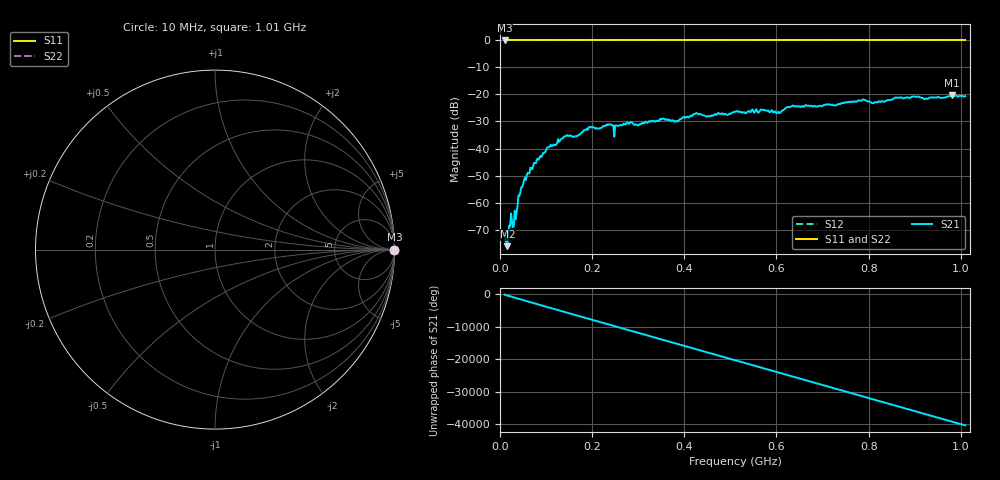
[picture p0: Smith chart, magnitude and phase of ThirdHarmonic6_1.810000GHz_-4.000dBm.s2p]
! 8/16/2025 9:55:12 PM
! C:\ANRITSUVNA\TEMP\TEMP.S2P
! CHANNEL.1
! TR.MEASUREMENT
! RAW.DATA
! RF.CORRECTION.OFF
! AVERAGING.OFF
! IF.BANDWIDTH: 5KHZ
! SWEEPTYPE:  FREQ.SWEEP(Linear)
! Reference Plane Port Info
! PORT:  PORT1  PORT2
! DISTANCE:  0  m  0  m
! TIME:  0  s  0  s
! PHASE.OFFSET:  0  deg.  0  deg.
! LOSS:  0  dB  0  dB
! REF.LOSS:  0  dB  0  dB
! REF.FREQ:  0  Hz  0  Hz
! Power Info
! POWER:  -20  dBm  -20  dBm
! EFF.POWER:  -20  dBm  -20  dBm
! SOURCE.ATTEN:  0  dB  0  dB
! TEST.ATTEN:  0  dB  0  dB
# GHZ S RI R 50.0
! FREQ.GHZ  S11RE  S11IM  S21RE  S21IM  S12RE  S12IM  S22RE  S22IM
!; PortSelection: Port_12
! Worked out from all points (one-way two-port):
!   501 points, 10 MHz to 1.01 GHz, reference 50 ohm
!   highest |S21| = -20.32 dB at 980 MHz (marker M1); lowest = -76.2 dB at 16 MHz (marker M2)
!   lowest |S11| = 0.0 dB at 10 MHz (marker M3)
!   |S11| at or under -10 dB: nowhere
!   |S22| runs from 0.0 to 0.0 dB; largest |S21 - S12| = 1.1
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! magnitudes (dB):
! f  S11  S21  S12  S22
! 10 MHz  0.0  -71.4  0.0  0.0
! 16 MHz  0.0  -76.2  0.0  0.0
! 22 MHz  0.0  -68.8  0.0  0.0
! 32 MHz  0.0  -63.0  0.0  0.0
! 42 MHz  0.0  -57.6  0.0  0.0
! 50 MHz  0.0  -53.3  0.0  0.0
! 78 MHz  0.0  -45.4  0.0  0.0
! 106 MHz  0.0  -39.5  0.0  0.0
! 142 MHz  0.0  -35.4  0.0  0.0
! 178 MHz  0.0  -33.9  0.0  0.0
! 196 MHz  0.0  -32.0  0.0  0.0
! 236 MHz  0.0  -31.1  0.0  0.0
! 252 MHz  0.0  -31.5  0.0  0.0
! 344 MHz  0.0  -29.8  0.0  0.0
! 382 MHz  0.0  -29.8  0.0  0.0
! 510 MHz  0.0  -26.4  0.0  0.0
! 604 MHz  0.0  -26.4  0.0  0.0
! 632 MHz  0.0  -24.4  0.0  0.0
! 678 MHz  0.0  -24.4  0.0  0.0
! 844 MHz  0.0  -22.1  0.0  0.0
! 980 MHz  0.0  -20.3  0.0  0.0
! 1.01 GHz  0.0  -20.6  0.0  0.0
